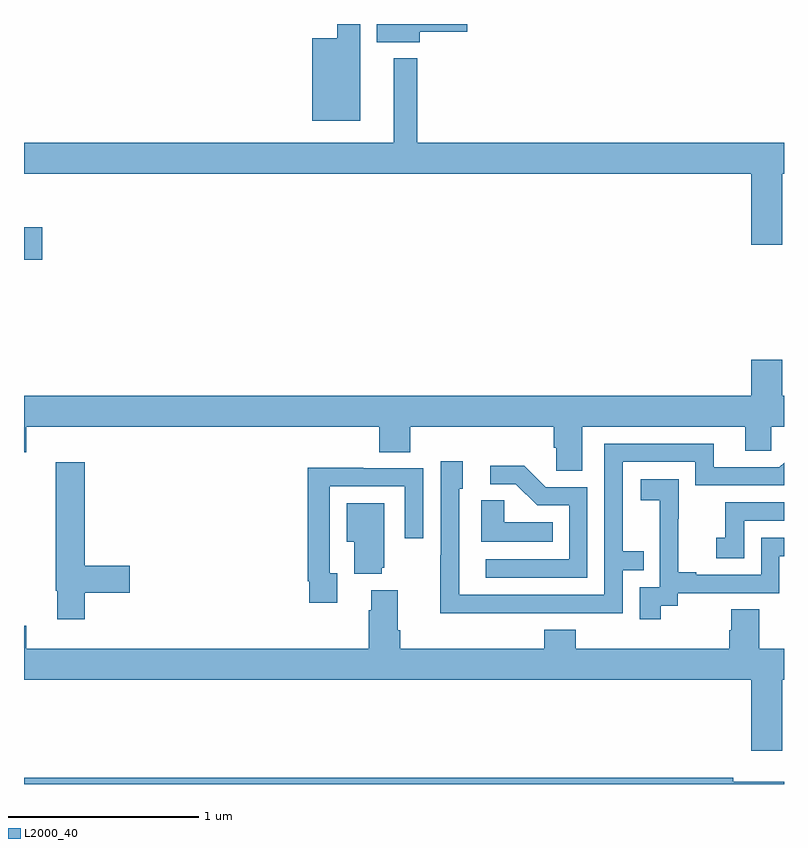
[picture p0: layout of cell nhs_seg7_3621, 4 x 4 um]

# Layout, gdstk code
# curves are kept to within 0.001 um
import gdstk
lib = gdstk.Library(unit=1e-6, precision=1e-09)
def R(c, l, rs):  # rectangles x0, y0, x1, y1
    for r in rs: c.add(gdstk.rectangle(r[:2], r[2:], *l))
def P(c, l, *ps):  # polygons
    for p in ps: c.add(gdstk.Polygon(p, *l))
L2000_40 = (2000, 40)

nhs_seg7_3621 = lib.new_cell('nhs_seg7_3621')
R(nhs_seg7_3621, L2000_40, [(341,1070.759,341.095,1070.929)])
P(nhs_seg7_3621, L2000_40, [(342.769,1072),(342.648,1072),(342.648,1071.925),(342.518,1071.925),(342.518,1071.491),(342.769,1071.491)],
  [(343.084,1071.959),(343.333,1071.959),(343.333,1072),(342.857,1072),(342.857,1071.905),(343.084,1071.905)],
  [(344.992,1071.212),(345,1071.212),(345,1071.376),(343.069,1071.376),(343.069,1071.82),(342.947,1071.82),(342.947,1071.376),(341,1071.376),(341,1071.212),(344.828,1071.212),(344.828,1070.838),(344.992,1070.838)],
  [(343.939,1069.88),(344.795,1069.88),(344.795,1069.753),(344.934,1069.753),(344.934,1069.88),(345,1069.88),(345,1070.044),(344.992,1070.044),(344.992,1070.233),(344.828,1070.233),(344.828,1070.044),(341,1070.044),(341,1069.747),(341.012,1069.747),(341.012,1069.88),(342.869,1069.88),(342.869,1069.747),(343.034,1069.747),(343.034,1069.88),(343.787,1069.88),(343.787,1069.771),(343.8,1069.771),(343.8,1069.648),(343.939,1069.648)],
  [(343.655,1068.9),(344.151,1068.9),(344.151,1069.125),(344.261,1069.125),(344.261,1069.226),(344.151,1069.226),(344.151,1069.695),(344.532,1069.695),(344.532,1069.572),(345,1069.572),(345,1069.692),(344.976,1069.668),(344.629,1069.668),(344.629,1069.791),(344.055,1069.791),(344.055,1068.996),(343.29,1068.996),(343.29,1069.554),(343.309,1069.554),(343.309,1069.699),(343.194,1069.699),(343.194,1069.205),(343.192,1069.205),(343.192,1068.899)],
  [(341.321,1069.006),(341.557,1069.006),(341.557,1069.148),(341.321,1069.148),(341.321,1069.693),(341.167,1069.693),(341.167,1069.017),(341.174,1069.017),(341.174,1068.867),(341.321,1068.867)],
  [(343.965,1069.563),(343.746,1069.563),(343.633,1069.676),(343.455,1069.676),(343.455,1069.578),(343.589,1069.578),(343.7,1069.467),(343.869,1069.467),(343.869,1069.182),(343.431,1069.182),(343.431,1069.086),(343.965,1069.086)],
  [(342.649,1069.11),(342.609,1069.11),(342.609,1069.566),(343.005,1069.566),(343.005,1069.293),(343.101,1069.293),(343.101,1069.662),(342.785,1069.662),(342.785,1069.664),(342.493,1069.664),(342.493,1069.066),(342.501,1069.066),(342.501,1068.954),(342.649,1068.954)],
  [(344.35,1068.937),(344.442,1068.937),(344.442,1069.005),(344.976,1069.005),(344.976,1069.2),(345,1069.2),(345,1069.296),(344.88,1069.296),(344.88,1069.101),(344.539,1069.101),(344.539,1069.114),(344.444,1069.114),(344.444,1069.397),(344.445,1069.397),(344.445,1069.603),(344.247,1069.603),(344.247,1069.493),(344.345,1069.493),(344.345,1069.265),(344.346,1069.265),(344.346,1069.035),(344.241,1069.035),(344.241,1068.867),(344.35,1068.867)],
  [(343.784,1069.378),(343.527,1069.378),(343.527,1069.493),(343.406,1069.493),(343.406,1069.274),(343.784,1069.274)],
  [(344.79,1069.386),(345,1069.386),(345,1069.482),(344.692,1069.482),(344.692,1069.297),(344.643,1069.297),(344.643,1069.188),(344.79,1069.188)],
  [(342.884,1069.137),(342.895,1069.137),(342.895,1069.477),(342.698,1069.477),(342.698,1069.274),(342.737,1069.274),(342.737,1069.106),(342.884,1069.106)],
  [(344.992,1068.548),(345,1068.548),(345,1068.712),(344.871,1068.712),(344.871,1068.92),(344.723,1068.92),(344.723,1068.81),(344.711,1068.81),(344.711,1068.712),(343.904,1068.712),(343.904,1068.811),(343.739,1068.811),(343.739,1068.712),(342.98,1068.712),(342.98,1068.808),(342.967,1068.808),(342.967,1069.021),(342.827,1069.021),(342.827,1068.914),(342.815,1068.914),(342.815,1068.712),(341.012,1068.712),(341.012,1068.834),(341,1068.834),(341,1068.548),(344.828,1068.548),(344.828,1068.174),(344.992,1068.174)],
  [(345,1068.013),(344.732,1068.013),(344.732,1068.032),(341,1068.032),(341,1068),(345,1068)])

lib.write_gds('nhs_seg7_3621.gds')
